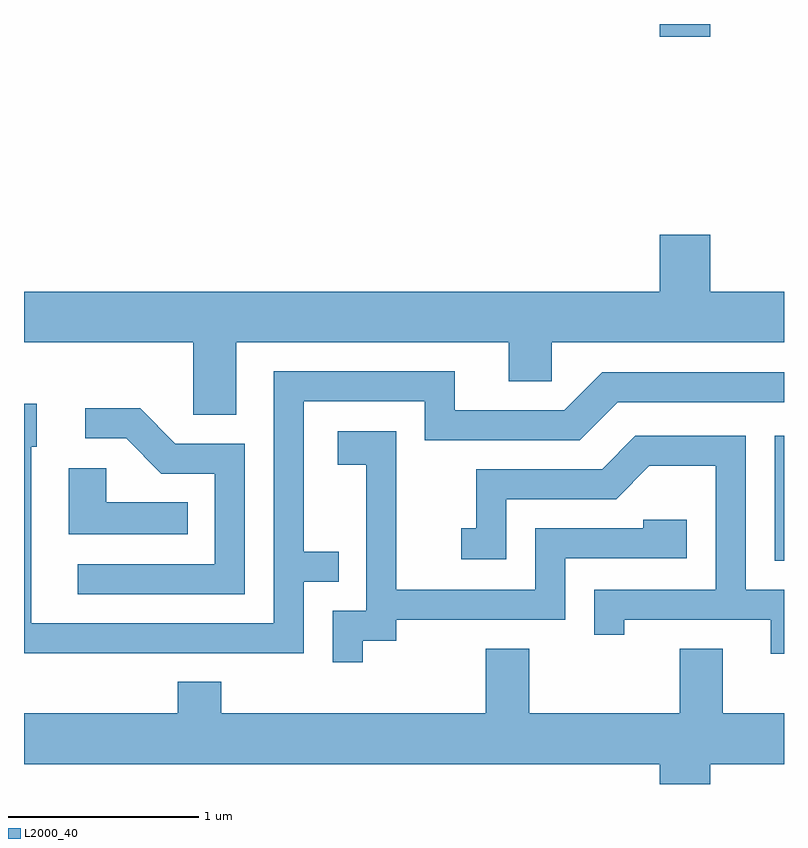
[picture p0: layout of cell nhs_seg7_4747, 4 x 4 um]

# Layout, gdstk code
import gdstk
lib = gdstk.Library(unit=1e-6, precision=1e-09)
def R(c, l, rs):  # rectangles x0, y0, x1, y1
    for r in rs: c.add(gdstk.rectangle(r[:2], r[2:], *l))
def P(c, l, *ps):  # polygons
    for p in ps: c.add(gdstk.Polygon(p, *l))
L2000_40 = (2000, 40)

nhs_seg7_4747 = lib.new_cell('nhs_seg7_4747')
R(nhs_seg7_4747, L2000_40, [(335.561,1675.426,335.611,1676.084), (334.956,1678.186,335.224,1678.252)])
P(nhs_seg7_4747, L2000_40, [(332.729,1676.576),(334.161,1676.576),(334.161,1676.371),(334.389,1676.371),(334.389,1676.576),(335.611,1676.576),(335.611,1676.844),(335.224,1676.844),(335.224,1677.144),(334.956,1677.144),(334.956,1676.844),(331.611,1676.844),(331.611,1676.576),(332.501,1676.576),(332.501,1676.196),(332.729,1676.196)],
  [(333.084,1675.316),(333.268,1675.316),(333.268,1675.474),(333.084,1675.474),(333.084,1676.266),(333.721,1676.266),(333.721,1676.061),(334.537,1676.061),(334.737,1676.261),(335.611,1676.261),(335.611,1676.419),(334.654,1676.419),(334.454,1676.219),(333.879,1676.219),(333.879,1676.424),(332.926,1676.424),(332.926,1675.099),(331.649,1675.099),(331.649,1676.026),(331.679,1676.026),(331.679,1676.254),(331.611,1676.254),(331.611,1674.941),(333.084,1674.941)],
  [(332.774,1676.044),(332.407,1676.044),(332.222,1676.229),(331.933,1676.229),(331.933,1676.071),(332.149,1676.071),(332.334,1675.886),(332.616,1675.886),(332.616,1675.409),(331.893,1675.409),(331.893,1675.251),(332.774,1675.251)],
  [(333.394,1675.006),(333.569,1675.006),(333.569,1675.116),(334.459,1675.116),(334.459,1675.441),(335.099,1675.441),(335.099,1675.644),(334.871,1675.644),(334.871,1675.599),(334.301,1675.599),(334.301,1675.274),(333.569,1675.274),(333.569,1676.109),(333.261,1676.109),(333.261,1675.931),(333.411,1675.931),(333.411,1675.164),(333.236,1675.164),(333.236,1674.893),(333.394,1674.893)],
  [(335.611,1675.274),(335.409,1675.274),(335.409,1676.084),(334.829,1676.084),(334.654,1675.909),(333.991,1675.909),(333.991,1675.599),(333.913,1675.599),(333.913,1675.436),(334.149,1675.436),(334.149,1675.751),(334.727,1675.751),(334.902,1675.926),(335.251,1675.926),(335.251,1675.274),(334.611,1675.274),(334.611,1675.038),(334.769,1675.038),(334.769,1675.116),(335.541,1675.116),(335.541,1674.938),(335.611,1674.938)],
  [(332.473,1675.734),(332.044,1675.734),(332.044,1675.914),(331.846,1675.914),(331.846,1675.566),(332.473,1675.566)],
  [(335.224,1674.356),(335.611,1674.356),(335.611,1674.624),(335.289,1674.624),(335.289,1674.964),(335.061,1674.964),(335.061,1674.624),(334.269,1674.624),(334.269,1674.964),(334.041,1674.964),(334.041,1674.624),(332.649,1674.624),(332.649,1674.789),(332.421,1674.789),(332.421,1674.624),(331.611,1674.624),(331.611,1674.356),(334.956,1674.356),(334.956,1674.252),(335.224,1674.252)])

lib.write_gds('nhs_seg7_4747.gds')
